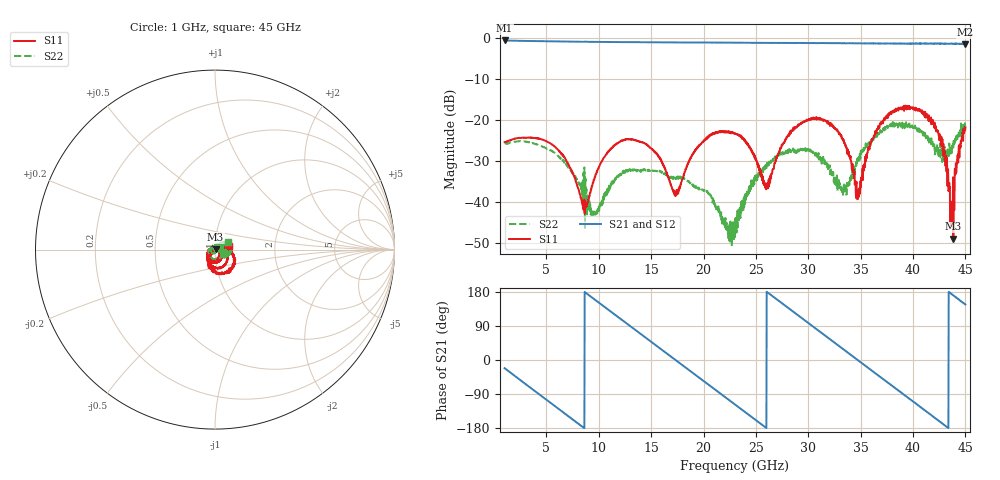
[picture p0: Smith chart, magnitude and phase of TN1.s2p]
!Keysight Technologies,N5247B,MY61255062,A.19.80.06
!Date: Thursday, May 21, 2026 11:43:20
!Correction: S11(Cdelta 2-Port  )
!S21(Cdelta 2-Port  )
!S12(Cdelta 2-Port  )
!S22(Cdelta 2-Port  )
!S2P File: Measurements: S11, S21, S12, S22:
# Hz S  dB  R 50
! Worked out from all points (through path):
!   1601 points, 1 GHz to 45 GHz, reference 50 ohm
!   highest |S21| = -0.50 dB at 1 GHz (marker M1); lowest = -1.4 dB at 45 GHz (marker M2)
!   group delay of S21, straight-line fit = 57.5 ps
!   lowest |S11| = -49.0 dB at 43.84 GHz (marker M3), VSWR 1.01, Z = 50.4 + j0.0687 ohm
!   |S11| at or under -10 dB: start of sweep to end of sweep
!   |S22| runs from -50.8 to -20.4 dB; largest |S21 - S12| = 0.012
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1e9  -25.34 -21.5  -0.50 -21.7  -0.50 -21.7  -25.59 -21.8
4.5475e9  -24.68 -116.8  -0.69 -95.7  -0.69 -95.7  -26.35 -122.6
8.3425e9  -39.62 112.6  -0.82 -174.4  -0.83 -174.4  -35.44 118.0
9.635e9  -33.92 -15.8  -0.85 158.9  -0.85 158.9  -42.52 20.2
1.23025e10  -24.96 -93.1  -0.90 103.8  -0.90 103.8  -32.71 -122.0
1.5685e10  -28.65 -173.8  -0.98 33.7  -0.98 33.7  -32.42 131.8
1.73625e10  -37.50 83.0  -1.00 -0.8  -1.01 -0.8  -34.01 79.6
1.8765e10  -29.36 -14.4  -1.00 -29.7  -1.01 -29.7  -35.33 33.8
2.0965e10  -23.33 -71.0  -1.01 -75.3  -1.01 -75.3  -39.51 -45.4
2.3e10  -23.17 -113.4  -1.05 -117.6  -1.05 -117.5  -46.32 -160.1
2.60525e10  -36.35 95.6  -1.09 179.4  -1.09 179.4  -31.38 73.9
2.8005e10  -23.94 -10.7  -1.11 139.0  -1.10 139.0  -27.36 37.2
3.03425e10  -19.58 -66.0  -1.13 90.6  -1.14 90.6  -27.77 -11.1
3.345e10  -25.53 -137.2  -1.16 26.2  -1.19 26.2  -36.36 37.9
3.47425e10  -39.26 136.4  -1.19 -0.7  -1.21 -0.8  -29.51 50.4
3.5925e10  -26.19 15.6  -1.19 -25.1  -1.20 -25.2  -25.75 44.5
3.7685e10  -18.76 -23.2  -1.24 -61.4  -1.26 -61.7  -21.25 19.6
3.972e10  -17.13 -64.0  -1.29 -103.8  -1.32 -103.5  -21.78 -13.2
4.18375e10  -20.90 -109.7  -1.23 -147.5  -1.31 -147.6  -25.82 -27.2
4.3845e10  -48.96 11.0  -1.30 170.4  -1.29 170.5  -26.68 28.3
4.42025e10  -30.60 35.4  -1.30 163.2  -1.34 163.4  -24.96 33.5
4.5e10  -21.83 13.0  -1.41 146.4  -1.35 146.4  -21.77 31.2
